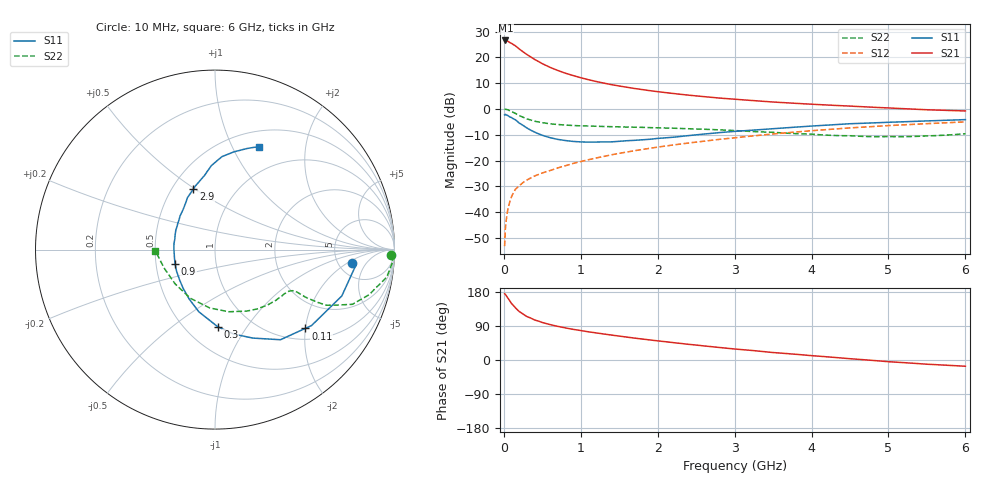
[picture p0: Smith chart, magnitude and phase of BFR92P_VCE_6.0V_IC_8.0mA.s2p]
! Infineon Technologies  Discrete & RF Semiconductors
! BFR92P
! VCE =  6.0 V,  IC =  8.0 mA
! Common Emitter S-Parameters:  Apr 2014
# GHz  S  MA  R  50
!  f  S11  S21  S12  S22
! GHz  MAG  ANG  MAG  ANG  MAG  ANG  MAG  ANG
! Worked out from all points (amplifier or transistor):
!   77 points, 10 MHz to 6 GHz, reference 50 ohm
!   highest |S21| = 26.6 dB at 20 MHz (marker M1)
!   |S21| within 3 dB of that: start of sweep to 188.2 MHz
!   unconditionally stable (mu >= 1): 799.7 MHz to 2.516 GHz
!   at 130 MHz: K = 0.33, MSG = 28.5 dB, |S12| = -32.2 dB
!   at 2.2 GHz: K = 1.02, MAG = 9.0 dB, |S12| = -13.9 dB
!   at 6 GHz: K = 0.86, MSG = 2.1 dB, |S12| = -5.0 dB
!   S11 on the Smith chart (normalised r, x): 10 MHz: 6.76, -2.44; 110 MHz: 1.26, -2.00; 300 MHz: 0.71, -0.74; 900 MHz: 0.63, -0.10; 2.9 GHz: 0.64, +0.49; 6 GHz: 0.68, +1.28
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0.01  0.769 -5.5  21.17 174.8  0.0022 94.5  0.9795 -1.9
0.02  0.7897 -6.3  21.37 173.2  0.0048 93.1  0.9939 -3.6
0.05  0.7522 -20.1  20.8 163.9  0.011 82.2  0.9697 -9.0
0.1  0.6845 -38.2  18.74 148.9  0.0199 72.1  0.8951 -16.3
0.11  0.6679 -41.1  18.32 146.9  0.0215 70.8  0.8804 -17.3
0.15  0.6207 -54.0  16.85 137.9  0.0278 67.0  0.8244 -21.7
0.2  0.5359 -66.9  14.63 127.9  0.0326 64.1  0.7477 -24.4
0.25  0.482 -77.5  12.87 121.2  0.0377 62.2  0.6948 -26.5
0.3  0.4292 -88.1  11.4 114.6  0.0421 61.1  0.6437 -27.2
0.4  0.3579 -104.6  9.158 105.6  0.0504 61.1  0.5815 -27.7
0.5  0.3103 -117.7  7.585 99.0  0.0577 61.8  0.5444 -27.6
0.6  0.2792 -129.5  6.445 93.5  0.0643 62.6  0.5185 -27.4
0.7  0.2585 -140.2  5.609 88.8  0.0723 63.5  0.5021 -27.4
0.9  0.2358 -160.5  4.467 80.9  0.0882 64.8  0.4801 -28.6
1.1  0.2284 -174.8  3.706 74.4  0.1044 65.6  0.4692 -30.1
1.5  0.237 159.6  2.799 63.1  0.1385 64.6  0.4527 -35.1
2.1  0.2768 132.4  2.087 48.3  0.192 61.4  0.4292 -44.6
2.9  0.3592 109.5  1.593 31.1  0.2678 55.1  0.3893 -60.8
3.1  0.3779 105.5  1.513 27.3  0.2873 52.9  0.376 -66.1
4.1  0.4781 91.0  1.22 10.0  0.3901 42.1  0.3184 -99.2
5.1  0.5607 77.8  1.034 -5.7  0.4864 28.8  0.2916 -143.6
6  0.6248 66.8  0.919 -16.5  0.5651 16.5  0.3327 -179.0
